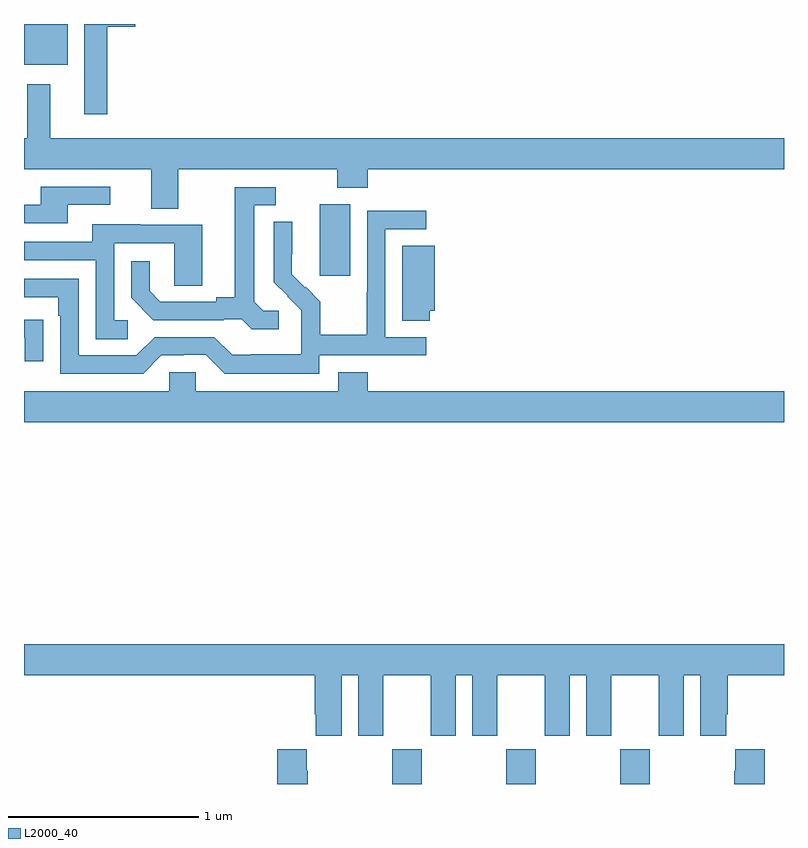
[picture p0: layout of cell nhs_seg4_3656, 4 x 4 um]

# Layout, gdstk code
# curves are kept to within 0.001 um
import gdstk
lib = gdstk.Library(unit=1e-6, precision=1e-09)
def R(c, l, rs):  # rectangles x0, y0, x1, y1
    for r in rs: c.add(gdstk.rectangle(r[:2], r[2:], *l))
def A(c, l, x, y, w, h, nx, ny, dx, dy):  # array of equal rectangles
    R(c, l, [(x+i*dx, y+j*dy, x+i*dx+w, y+j*dy+h) for i in range(nx) for j in range(ny)])
def P(c, l, *ps):  # polygons
    for p in ps: c.add(gdstk.Polygon(p, *l))
L2000_40 = (2000, 40)

nhs_seg4_3656 = lib.new_cell('nhs_seg4_3656')
A(nhs_seg4_3656, L2000_40, 304.939, 810.9, 0.155, 0.184, 3, 1, 0.6, 0)
R(nhs_seg4_3656, L2000_40, [(304.556,813.576,304.717,813.952)])
P(nhs_seg4_3656, L2000_40, [(303.229,814.9),(303.002,814.9),(303.002,814.85),(303,814.85),(303,814.708),(303.002,814.708),(303.002,814.685),(303.229,814.685)],
  [(303.439,814.886),(303.586,814.886),(303.586,814.9),(303.317,814.9),(303.317,814.425),(303.439,814.425)],
  [(303.811,814.136),(304.648,814.136),(304.648,814.037),(304.808,814.037),(304.808,814.136),(307,814.136),(307,814.3),(303.139,814.3),(303.139,814.582),(303.018,814.582),(303.018,814.3),(303,814.3),(303,814.136),(303.671,814.136),(303.671,813.928),(303.811,813.928)],
  [(303.229,813.948),(303.454,813.948),(303.454,814.044),(303.089,814.044),(303.089,813.948),(303,813.948),(303,813.852),(303.229,813.852)],
  [(304.342,813.39),(304.26,813.39),(304.213,813.437),(304.213,813.945),(304.324,813.945),(304.324,814.041),(304.109,814.041),(304.109,813.461),(304.013,813.461),(304.013,813.438),(303.718,813.438),(303.661,813.495),(303.661,813.652),(303.564,813.652),(303.564,813.458),(303.68,813.342),(304.052,813.342),(304.052,813.345),(304.146,813.345),(304.198,813.293),(304.342,813.293)],
  [(304.554,813.156),(305.116,813.156),(305.116,813.252),(304.902,813.252),(304.902,813.819),(305.116,813.819),(305.116,813.918),(304.806,813.918),(304.806,813.488),(304.804,813.488),(304.804,813.265),(304.559,813.265),(304.559,813.439),(304.482,813.516),(304.479,813.513),(304.409,813.584),(304.409,813.688),(304.411,813.688),(304.411,813.86),(304.314,813.86),(304.314,813.542),(304.46,813.394),(304.46,813.297),(304.458,813.297),(304.458,813.163),(304.195,813.163),(304.195,813.159),(304.095,813.159),(304.002,813.252),(303.687,813.252),(303.591,813.156),(303.288,813.156),(303.288,813.558),(303,813.558),(303,813.462),(303.179,813.462),(303.179,813.365),(303.192,813.365),(303.192,813.06),(303.627,813.06),(303.723,813.156),(303.842,813.156),(303.842,813.159),(303.957,813.159),(304.057,813.059),(304.554,813.059)],
  [(303.547,813.342),(303.474,813.342),(303.474,813.747),(303.792,813.747),(303.792,813.523),(303.937,813.523),(303.937,813.843),(303.613,813.843),(303.613,813.847),(303.359,813.847),(303.359,813.753),(303,813.753),(303,813.657),(303.378,813.657),(303.378,813.241),(303.547,813.241)],
  [(305.135,813.39),(305.162,813.39),(305.162,813.734),(304.991,813.734),(304.991,813.337),(305.135,813.337)],
  [(303.101,813.344),(303,813.344),(303,813.249),(303.005,813.249),(303.005,813.126),(303.101,813.126)],
  [(307,812.968),(304.808,812.968),(304.808,813.067),(304.655,813.067),(304.655,812.968),(303.903,812.968),(303.903,813.066),(303.765,813.066),(303.765,812.968),(303,812.968),(303,812.804),(307,812.804)],
  [(303,811.472),(304.529,811.472),(304.529,811.267),(304.535,811.267),(304.535,811.155),(304.672,811.155),(304.672,811.472),(304.76,811.472),(304.76,811.155),(304.891,811.155),(304.891,811.472),(305.141,811.472),(305.141,811.155),(305.272,811.155),(305.272,811.472),(305.36,811.472),(305.36,811.155),(305.491,811.155),(305.491,811.472),(305.741,811.472),(305.741,811.155),(305.872,811.155),(305.872,811.472),(305.96,811.472),(305.96,811.155),(306.091,811.155),(306.091,811.472),(306.341,811.472),(306.341,811.155),(306.472,811.155),(306.472,811.472),(306.56,811.472),(306.56,811.155),(306.697,811.155),(306.697,811.267),(306.704,811.267),(306.704,811.472),(307,811.472),(307,811.636),(303,811.636)],
  [(304.494,810.971),(304.489,810.971),(304.489,811.084),(304.334,811.084),(304.334,810.9),(304.494,810.9)],
  [(306.899,811.084),(306.743,811.084),(306.743,810.971),(306.739,810.971),(306.739,810.9),(306.899,810.9)])

lib.write_gds('nhs_seg4_3656.gds')
